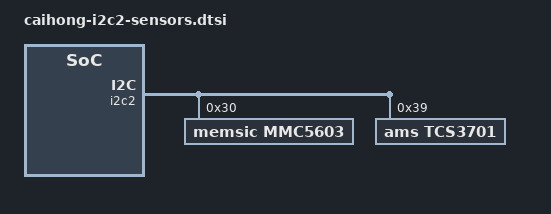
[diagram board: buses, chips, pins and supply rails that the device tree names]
// SPDX-License-Identifier: GPL-2.0-only
/*
 * Optional Caihong sensor probe nodes.
 *
 * The SSC registry maps sensor I2C instance 2 to SM8650 QUPv3 SE2
 * (mainline &i2c2 at 0x00a88000), with the devices at 0x30 and 0x39.
 * This fragment is intentionally not included by the Caihong board DTS.
 * Include it only for a controlled AP-bus probe after confirming that SSC
 * has released this bus and that the sensor rails are already powered.
 */

&i2c2 {
	mmc5603@30 {
		compatible = "memsic,mmc5603";
		reg = <0x30>;
		status = "okay";
	};

	tcs3701@39 {
		compatible = "ams,tcs3701";
		reg = <0x39>;
		status = "okay";
	};
};
